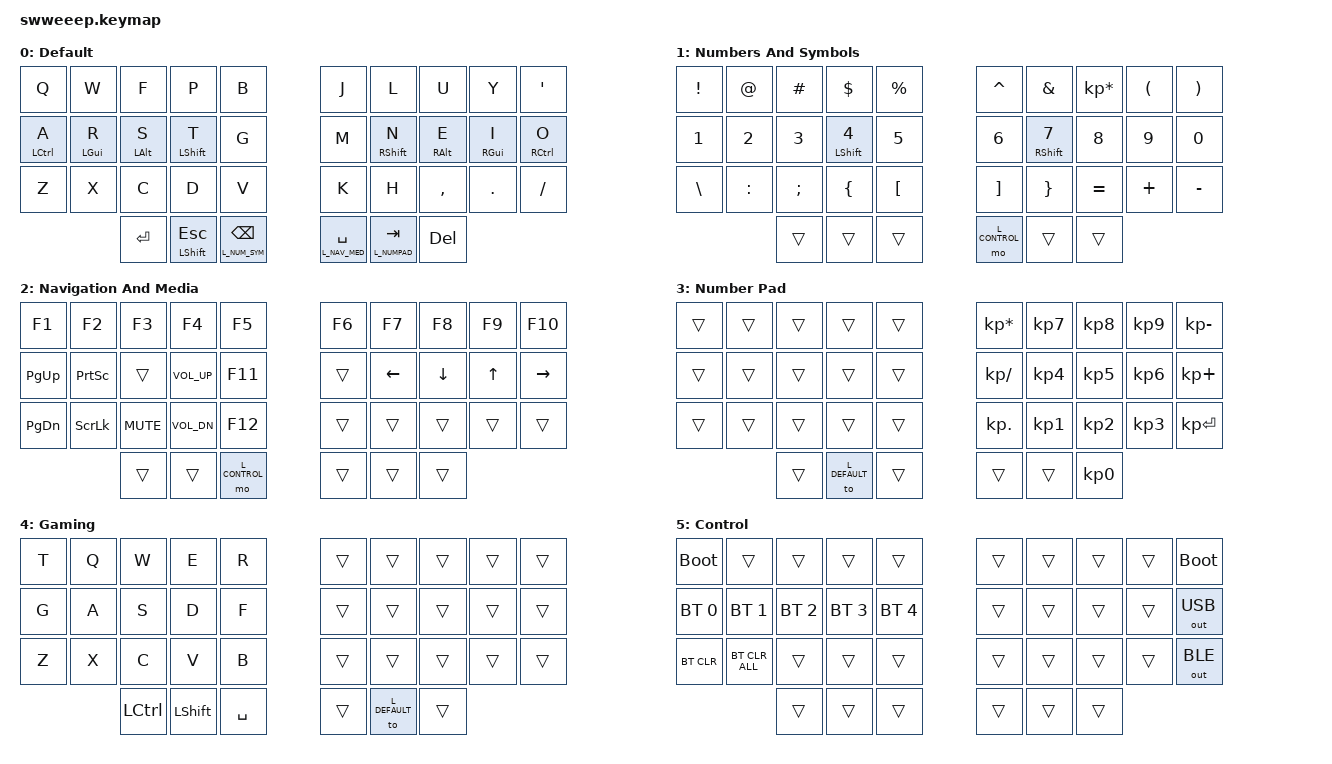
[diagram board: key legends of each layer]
#include <behaviors.dtsi>
#include <dt-bindings/zmk/keys.h>
#include <dt-bindings/zmk/bt.h>
#include <dt-bindings/zmk/outputs.h>

// global config settings
#define TAPPING_TERM 200
#define QUICK_TAP 180
#define COMBO_TIMEOUT 35

// layer aliases
#define L_DEFAULT 0
#define L_NUM_SYM 1
#define L_NAV_MED 2
#define L_NUMPAD 3
#define L_GAMING 4
#define L_CONTROL 5

#define LHKEYS 0 1 2 3 4 10 11 12 13 14 20 21 22 23 24
#define RHKEYS 5 6 7 8 9 15 16 17 18 19 25 26 27 28 29
#define THUMBKEYS 30 31 32 33

&caps_word {
    continue-list = <UNDERSCORE MINUS BSPC N0 N1 N2 N3 N4 N5 N6 N7 N8 N9>;
};

// allow hold-tap (&lt) to repeat tap the tap behaior on tap then hold
&lt {
    flavor = "balanced";
    tapping-term-ms = <175>;
    quick-tap-ms = <QUICK_TAP>;
};

/ {
    combos {
	compatible = "zmk,combos";
	combo_grave {
	    timeout-ms = <COMBO_TIMEOUT>;
	    key-positions = <0 1>;
	    bindings = <&kp GRAVE>;
	    layers = <0>;
	};
	combo_tilde {
	    timeout-ms = <COMBO_TIMEOUT>;
	    key-positions = <1 2>;
	    bindings = <&kp TILDE>;
	    layers = <0>;
	};
	combo_pipe {
	    timeout-ms = <COMBO_TIMEOUT>;
	    key-positions = <2 3>;
	    bindings = <&kp PIPE>;
	    layers = <0>;
	};
	combo_minus {
	    timeout-ms = <COMBO_TIMEOUT>;
	    key-positions = <8 9>;
	    bindings = <&kp MINUS>;
	    layers = <0>;
	};
	combo_semicolon {
	    timeout-ms = <COMBO_TIMEOUT>;
	    key-positions = <18 19>;
	    bindings = <&kp SEMI>;
	    layers = <0>;
	};
	combo_capsword {
	    timeout-ms = <COMBO_TIMEOUT>;
	    key-positions = <13 16>;
	    bindings = <&caps_word>;
	    layers = <0>;
	};
    };

    behaviors {
        hm: homerow_mods {
            compatible = "zmk,behavior-hold-tap";
            label = "HOMEROW_MOD";
            #binding-cells = <2>;
            tapping-term-ms = <TAPPING_TERM>;
            quick-tap-ms = <QUICK_TAP>;
            flavor = "balanced";
            bindings = <&kp>, <&kp>;
        };
        hml: homerow_left {
            compatible = "zmk,behavior-hold-tap";
            label = "HOMEROW_MOD_LEFT";
            #binding-cells = <2>;
            tapping-term-ms = <TAPPING_TERM>;
            quick-tap-ms = <QUICK_TAP>;
            flavor = "balanced";
            hold-trigger-key-positions = <RHKEYS THUMBKEYS>;
            bindings = <&kp>, <&kp>;
        };
        hmr: homerow_right {
            compatible = "zmk,behavior-hold-tap";
            label = "HOMEROW_MOD_RIGHT";
            #binding-cells = <2>;
            tapping-term-ms = <TAPPING_TERM>;
            quick-tap-ms = <QUICK_TAP>;
            flavor = "balanced";
            hold-trigger-key-positions = <LHKEYS THUMBKEYS>;
            bindings = <&kp>, <&kp>;
        };
        hs: homerow_shift {
            compatible = "zmk,behavior-hold-tap";
            label = "HOMEROW_SHIFT";
            #binding-cells = <2>;
            tapping-term-ms = <TAPPING_TERM>;
            quick-tap-ms = <QUICK_TAP>;
            flavor = "balanced";
            bindings = <&kp>, <&kp>;
        };
        hsl: homerow_shift_left {
            compatible = "zmk,behavior-hold-tap";
            label = "HOMEROW_SHIFT_LEFT";
            #binding-cells = <2>;
            tapping-term-ms = <TAPPING_TERM>;
            quick-tap-ms = <QUICK_TAP>;
            flavor = "balanced";
            hold-trigger-key-positions = <RHKEYS THUMBKEYS>;
            bindings = <&kp>, <&kp>;
        };
        hsr: homerow_shift_right {
            compatible = "zmk,behavior-hold-tap";
            label = "HOMEROW_SHIFT_RIGHT";
            #binding-cells = <2>;
            tapping-term-ms = <TAPPING_TERM>;
            quick-tap-ms = <QUICK_TAP>;
            flavor = "balanced";
            hold-trigger-key-positions = <LHKEYS THUMBKEYS>;
            bindings = <&kp>, <&kp>;
        };
    };

    keymap {
        compatible = "zmk,keymap";

        default_layer {
            label = "Default";
            bindings = <
    &kp Q        &kp W        &kp F        &kp P          &kp B                    &kp J                &kp L             &kp U        &kp Y        &kp SQT
    &hml LCTL A  &hml LGUI R  &hml LALT S  &hsl LSHIFT T  &kp G                    &kp M                &hsr RSHIFT N     &hmr RALT E  &hmr RGUI I  &hmr RCTL O
    &kp Z        &kp X        &kp C        &kp D          &kp V                    &kp K                &kp H             &kp COMMA    &kp DOT      &kp FSLH
                              &kp RET      &mt LSHFT ESC  &lt L_NUM_SYM BSPC       &lt L_NAV_MED SPACE  &lt L_NUMPAD TAB  &kp DEL
            >;
        };

        number_symbol_layer {  // 1
            label = "Numbers And Symbols";
            bindings = <
    &kp EXCL   &kp AT     &kp HASH  &kp DLLR      &kp PRCNT            &kp CARET      &kp AMPS      &kp KP_MULTIPLY  &kp LPAR  &kp RPAR
    &kp N1     &kp N2     &kp N3    &mt LSHFT N4  &kp N5               &kp N6         &mt RSHFT N7  &kp N8           &kp N9    &kp N0
    &kp BSLH   &kp COLON  &kp SEMI  &kp LBRC      &kp LBKT             &kp RBKT       &kp RBRC      &kp EQUAL        &kp PLUS  &kp MINUS
                          &trans    &trans        &trans               &mo L_CONTROL  &trans        &trans
            >;
        };

        nav_media_layer {  // 2
            label = "Navigation And Media";
            bindings = <
    &kp F1     &kp F2     &kp F3      &kp F4        &kp F5                   &kp F6     &kp F7       &kp F8       &kp F9     &kp F10
    &kp PG_UP  &kp PSCRN  &trans      &kp C_VOL_UP  &kp F11                  &trans     &kp LEFT     &kp DOWN     &kp UP     &kp RIGHT
    &kp PG_DN  &kp SLCK   &kp C_MUTE  &kp C_VOL_DN  &kp F12                  &trans     &trans       &trans       &trans     &trans
                          &trans      &trans        &mo L_CONTROL            &trans     &trans       &trans
            >;
        };

        numpad_layer {  // 3
            label = "Number Pad";
            bindings = <
    &trans  &trans  &trans  &trans         &trans             &kp KP_MULTIPLY  &kp KP_N7  &kp KP_N8  &kp KP_N9  &kp KP_MINUS
    &trans  &trans  &trans  &trans         &trans             &kp KP_DIVIDE    &kp KP_N4  &kp KP_N5  &kp KP_N6  &kp KP_PLUS
    &trans  &trans  &trans  &trans         &trans             &kp KP_DOT       &kp KP_N1  &kp KP_N2  &kp KP_N3  &kp KP_ENTER
                    &trans  &to L_DEFAULT  &trans             &trans           &trans     &kp KP_N0
            >;
        };

        gaming_layer {  // 4
            label = "Gaming";
            bindings = <
    &kp T  &kp Q  &kp W     &kp E       &kp R                &trans  &trans         &trans  &trans  &trans
    &kp G  &kp A  &kp S     &kp D       &kp F                &trans  &trans         &trans  &trans  &trans
    &kp Z  &kp X  &kp C     &kp V       &kp B                &trans  &trans         &trans  &trans  &trans
                  &kp LCTL  &kp LSHIFT  &kp SPACE            &trans  &to L_DEFAULT  &trans
                        >;
                };

        control_layer {  // 5
            label = "Control";
            bindings = <
    &bootloader   &trans          &trans        &trans        &trans                  &trans  &trans  &trans  &trans  &bootloader
    &bt BT_SEL 0  &bt BT_SEL 1    &bt BT_SEL 2  &bt BT_SEL 3  &bt BT_SEL 4            &trans  &trans  &trans  &trans  &out OUT_USB
    &bt BT_CLR    &bt BT_CLR_ALL  &trans        &trans        &trans                  &trans  &trans  &trans  &trans  &out OUT_BLE
                                  &trans        &trans        &trans                  &trans  &trans  &trans
            >;
        };

    };
};

